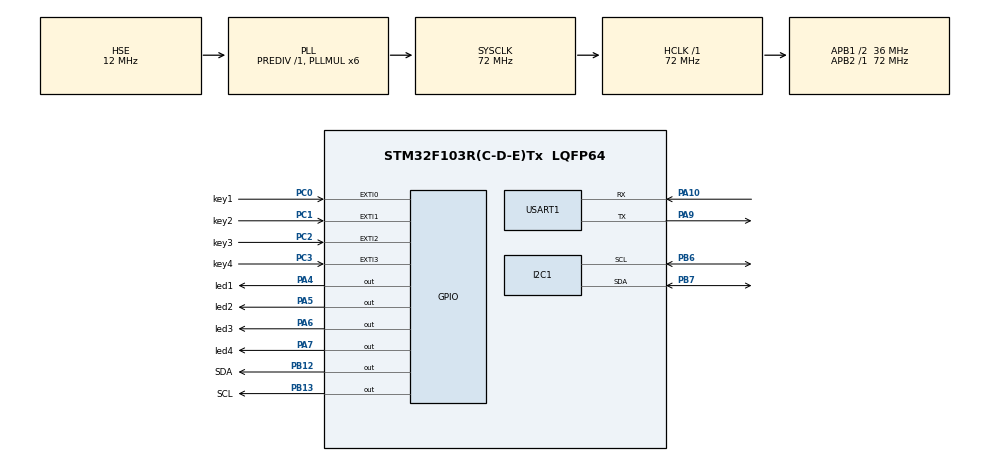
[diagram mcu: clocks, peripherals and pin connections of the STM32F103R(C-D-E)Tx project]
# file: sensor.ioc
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Mcu.Family=STM32F1
Mcu.Name=STM32F103R(C-D-E)Tx
Mcu.Package=LQFP64
NVIC.EXTI0_IRQn=true\:0\:0\:false\:false\:true\:true\:true
NVIC.EXTI1_IRQn=true\:0\:0\:false\:false\:true\:true\:true
NVIC.EXTI2_IRQn=true\:0\:0\:false\:false\:true\:true\:true
NVIC.EXTI3_IRQn=true\:0\:0\:false\:false\:true\:true\:true
NVIC.PriorityGroup=NVIC_PRIORITYGROUP_4
PA10.Mode=Asynchronous
PA10.Signal=USART1_RX
PA13.Mode=Serial_Wire
PA13.Signal=SYS_JTMS-SWDIO
PA14.Mode=Serial_Wire
PA14.Signal=SYS_JTCK-SWCLK
PA4.GPIO_Label=led1
PA4.Signal=GPIO_Output
PA5.GPIO_Label=led2
PA5.Signal=GPIO_Output
PA6.GPIO_Label=led3
PA6.Signal=GPIO_Output
PA7.GPIO_Label=led4
PA7.Signal=GPIO_Output
PA9.Mode=Asynchronous
PA9.Signal=USART1_TX
PB12.GPIO_Label=SDA
PB12.GPIO_ModeDefaultOutputPP=GPIO_MODE_OUTPUT_OD
PB12.GPIO_Speed=GPIO_SPEED_FREQ_HIGH
PB12.Signal=GPIO_Output
PB13.GPIO_Label=SCL
PB13.GPIO_ModeDefaultOutputPP=GPIO_MODE_OUTPUT_OD
PB13.GPIO_Speed=GPIO_SPEED_FREQ_HIGH
PB13.Signal=GPIO_Output
PB6.Mode=I2C
PB6.Signal=I2C1_SCL
PB7.Mode=I2C
PB7.Signal=I2C1_SDA
PC0.GPIO_Label=key1
PC0.Signal=GPXTI0
PC1.GPIO_Label=key2
PC1.Signal=GPXTI1
PC2.GPIO_Label=key3
PC2.Signal=GPXTI2
PC3.GPIO_Label=key4
PC3.Signal=GPXTI3
PD0-OSC_IN.Mode=HSE-External-Oscillator
PD0-OSC_IN.Signal=RCC_OSC_IN
PD1-OSC_OUT.Mode=HSE-External-Oscillator
PD1-OSC_OUT.Signal=RCC_OSC_OUT
ProjectManager.HeapSize=0x200
ProjectManager.StackSize=0x400
ProjectManager.TargetToolchain=MDK-ARM V5
RCC.AHBFreq_Value=72000000
RCC.APB1CLKDivider=RCC_HCLK_DIV2
RCC.APB1Freq_Value=36000000
RCC.APB1TimFreq_Value=72000000
RCC.APB2Freq_Value=72000000
RCC.APB2TimFreq_Value=72000000
RCC.HCLKFreq_Value=72000000
RCC.HSE_VALUE=12000000
RCC.PLLMUL=RCC_PLL_MUL6
RCC.PLLSourceVirtual=RCC_PLLSOURCE_HSE
RCC.SYSCLKFreq_VALUE=72000000
RCC.SYSCLKSource=RCC_SYSCLKSOURCE_PLLCLK
RCC.USBFreq_Value=72000000
USART1.VirtualMode=VM_ASYNC
board=custom

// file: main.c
/* USER CODE BEGIN Header */
/**
  ******************************************************************************
  * @file           : main.c
  * @brief          : Main program body
  ******************************************************************************
  * @attention
  *
  * <h2><center>&copy; Copyright (c) 2019 STMicroelectronics.
  * All rights reserved.</center></h2>
  *
  * This software component is licensed by ST under BSD 3-Clause license,
  * the "License"; You may not use this file except in compliance with the
  * License. You may obtain a copy of the License at:
  *                        opensource.org/licenses/BSD-3-Clause
  *
  ******************************************************************************
  */
/* USER CODE END Header */

#include "main.h"
#include "i2c.h"
#include "usart.h"
#include "gpio.h"

/* USER CODE BEGIN Includes */
#include "oled.h"
#include "stdio.h"
#include "stdlib.h"
#include "BH1750FVI.h"
#include "ADXL345.h"
#include "sht20.h"
#include "bmp180.h"
/* USER CODE END Includes */

/* USER CODE BEGIN PTD */
float data_rec[3],humidity,tempreture;

unsigned char acceleration[ ]={'a','b','c'};
/* USER CODE END PTD */

void SystemClock_Config(void);

int main(void)
{

  /* MCU Configuration--------------------------------------------------------*/

  /* Reset of all peripherals, Initializes the Flash interface and the Systick. */
  HAL_Init();

  /* Configure the system clock */
  SystemClock_Config();

  /* Initialize all configured peripherals */
  MX_GPIO_Init();
  MX_USART1_UART_Init();
  MX_I2C1_Init();
  /* USER CODE BEGIN 2 */
	OLED_Init();

	HAL_GPIO_WritePin(GPIOA,GPIO_PIN_4,GPIO_PIN_RESET);
	HAL_GPIO_WritePin(GPIOA,GPIO_PIN_5,GPIO_PIN_RESET);
	HAL_GPIO_WritePin(GPIOA,GPIO_PIN_6,GPIO_PIN_RESET);
	HAL_GPIO_WritePin(GPIOA,GPIO_PIN_7,GPIO_PIN_RESET);

	BH1750_start();

	adxl_init();

	BMP_Init();
  /* USER CODE END 2 */
printf("111111xg:%s   yg:%s    zg:%s\n",&acceleration[0],&acceleration[1],&acceleration[2]);
  /* Infinite loop */
  /* USER CODE BEGIN WHILE */
  while (1)
  {

		/*******************************  光照传感器    start*******************************************/
//		uint16_t a=bh_data_read();
		/*******************************  光照传感器    end*******************************************/

		/*******************************三轴加速度传感器    start*******************************************/
//		get_data_array(data_rec);
//		OLED_ShowNum_float(0,0,data_rec[0],2);
//		OLED_ShowNum_float(0,3,data_rec[1],2);
//		OLED_ShowNum_float(0,6,data_rec[2],2);
		/*******************************三轴加速度传感器      END*******************************************/

		/*******************************  温湿度传感器      start*******************************************/
		SHT20_GetValue(&tempreture,&humidity);
//
		OLED_ShowNum_float(0,6,tempreture,2);
//
//		OLED_ShowNum_float(0,3,humidity,2);
		/*******************************   温湿度传感器      END*******************************************/

		/*******************************   气压传感器      start*******************************************/
		BMP_UncompemstatedToTrue();
		OLED_ShowNum_float(0,3,(float)bmp180.Temp/10.0,2);
		OLED_ShowNum_float(0,0,bmp180.p,2);
		/*******************************   气压传感器      END *******************************************/
		HAL_Delay(1000);
    /* USER CODE END WHILE */

  }
}

void SystemClock_Config(void)
{
  RCC_OscInitTypeDef RCC_OscInitStruct = {0};
  RCC_ClkInitTypeDef RCC_ClkInitStruct = {0};

  /** Initializes the CPU, AHB and APB busses clocks
  */
  RCC_OscInitStruct.OscillatorType = RCC_OSCILLATORTYPE_HSE;
  RCC_OscInitStruct.HSEState = RCC_HSE_ON;
  RCC_OscInitStruct.HSEPredivValue = RCC_HSE_PREDIV_DIV1;
  RCC_OscInitStruct.HSIState = RCC_HSI_ON;
  RCC_OscInitStruct.PLL.PLLState = RCC_PLL_ON;
  RCC_OscInitStruct.PLL.PLLSource = RCC_PLLSOURCE_HSE;
  RCC_OscInitStruct.PLL.PLLMUL = RCC_PLL_MUL6;
  if (HAL_RCC_OscConfig(&RCC_OscInitStruct) != HAL_OK)
  {
    Error_Handler();
  }
  /** Initializes the CPU, AHB and APB busses clocks
  */
  RCC_ClkInitStruct.ClockType = RCC_CLOCKTYPE_HCLK|RCC_CLOCKTYPE_SYSCLK
                              |RCC_CLOCKTYPE_PCLK1|RCC_CLOCKTYPE_PCLK2;
  RCC_ClkInitStruct.SYSCLKSource = RCC_SYSCLKSOURCE_PLLCLK;
  RCC_ClkInitStruct.AHBCLKDivider = RCC_SYSCLK_DIV1;
  RCC_ClkInitStruct.APB1CLKDivider = RCC_HCLK_DIV2;
  RCC_ClkInitStruct.APB2CLKDivider = RCC_HCLK_DIV1;

  if (HAL_RCC_ClockConfig(&RCC_ClkInitStruct, FLASH_LATENCY_2) != HAL_OK)
  {
    Error_Handler();
  }
}

void Error_Handler(void)
{
}

/************************ (C) COPYRIGHT STMicroelectronics *****END OF FILE****/
